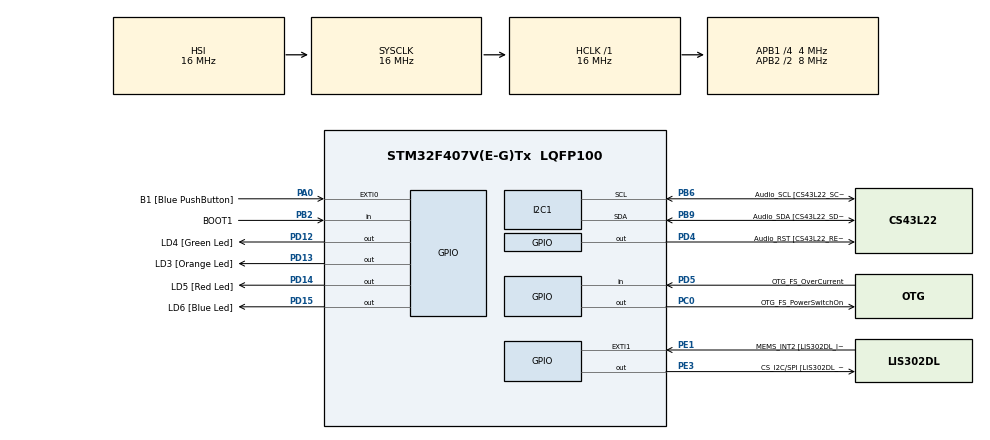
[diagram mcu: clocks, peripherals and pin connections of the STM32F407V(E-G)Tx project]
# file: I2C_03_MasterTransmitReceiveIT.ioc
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I2C1.OwnAddress=57
Mcu.Family=STM32F4
Mcu.Name=STM32F407V(E-G)Tx
Mcu.Package=LQFP100
NVIC.I2C1_ER_IRQn=true\:0\:0\:false\:false\:true\:true\:true\:true
NVIC.I2C1_EV_IRQn=true\:0\:0\:false\:false\:true\:true\:true\:true
NVIC.PriorityGroup=NVIC_PRIORITYGROUP_0
PA0-WKUP.GPIO_Label=B1 [Blue PushButton]
PA0-WKUP.Signal=GPXTI0
PA10.GPIO_Label=OTG_FS_ID
PA10.GPIO_Mode=GPIO_MODE_AF_PP
PA10.GPIO_PuPd=GPIO_NOPULL
PA10.GPIO_Speed=GPIO_SPEED_FREQ_LOW
PA10.Signal=USB_OTG_FS_ID
PA11.GPIO_Label=OTG_FS_DM
PA11.GPIO_Mode=GPIO_MODE_AF_PP
PA11.GPIO_PuPd=GPIO_NOPULL
PA11.GPIO_Speed=GPIO_SPEED_FREQ_LOW
PA11.Signal=USB_OTG_FS_DM
PA12.GPIO_Label=OTG_FS_DP
PA12.GPIO_Mode=GPIO_MODE_AF_PP
PA12.GPIO_PuPd=GPIO_NOPULL
PA12.GPIO_Speed=GPIO_SPEED_FREQ_LOW
PA12.Signal=USB_OTG_FS_DP
PA13.GPIO_Label=SWDIO
PA13.Signal=SYS_JTMS-SWDIO
PA14.GPIO_Label=SWCLK
PA14.Signal=SYS_JTCK-SWCLK
PA4.GPIO_Label=I2S3_WS [CS43L22_LRCK]
PA4.GPIO_Mode=GPIO_MODE_AF_PP
PA4.GPIO_PuPd=GPIO_NOPULL
PA4.GPIO_Speed=GPIO_SPEED_FREQ_LOW
PA4.Signal=I2S3_WS
PA5.GPIO_Label=SPI1_SCK [LIS302DL_SCL/SPC]
PA5.GPIO_Mode=GPIO_MODE_AF_PP
PA5.GPIO_PuPd=GPIO_NOPULL
PA5.GPIO_Speed=GPIO_SPEED_FREQ_LOW
PA5.Signal=SPI1_SCK
PA6.GPIO_Label=SPI1_MISO [LIS302DL_SDO]
PA6.GPIO_Mode=GPIO_MODE_AF_PP
PA6.GPIO_PuPd=GPIO_NOPULL
PA6.GPIO_Speed=GPIO_SPEED_FREQ_LOW
PA6.Signal=SPI1_MISO
PA7.GPIO_Label=SPI1_MOSI [LIS302DL_SDA/SDI/SDO]
PA7.GPIO_Mode=GPIO_MODE_AF_PP
PA7.GPIO_PuPd=GPIO_NOPULL
PA7.GPIO_Speed=GPIO_SPEED_FREQ_LOW
PA7.Signal=SPI1_MOSI
PA9.GPIO_Label=VBUS_FS
PA9.GPIO_Mode=GPIO_MODE_INPUT
PA9.GPIO_PuPd=GPIO_NOPULL
PA9.Signal=USB_OTG_FS_VBUS
PB10.GPIO_Label=CLK_IN [MP45DT02_CLK]
PB10.GPIO_Mode=GPIO_MODE_AF_PP
PB10.GPIO_PuPd=GPIO_NOPULL
PB10.GPIO_Speed=GPIO_SPEED_FREQ_LOW
PB10.Signal=I2S2_CK
PB2.GPIO_Label=BOOT1
PB2.GPIO_Mode=GPIO_MODE_INPUT
PB2.GPIO_PuPd=GPIO_NOPULL
PB2.Signal=GPIO_Input
PB3.GPIO_Label=SWO
PB3.Signal=SYS_JTDO-SWO
PB6.GPIO_Label=Audio_SCL [CS43L22_SCL]
PB6.GPIO_Mode=GPIO_MODE_AF_OD
PB6.GPIO_PuPd=GPIO_NOPULL
PB6.GPIO_Speed=GPIO_SPEED_FREQ_LOW
PB6.Mode=I2C
PB6.Signal=I2C1_SCL
PB9.GPIO_Label=Audio_SDA [CS43L22_SDA]
PB9.GPIO_Mode=GPIO_MODE_AF_OD
PB9.GPIO_PuPd=GPIO_NOPULL
PB9.GPIO_Speed=GPIO_SPEED_FREQ_LOW
PB9.Mode=I2C
PB9.Signal=I2C1_SDA
PC0.GPIO_Label=OTG_FS_PowerSwitchOn
PC0.GPIO_PuPd=GPIO_NOPULL
PC0.GPIO_Speed=GPIO_SPEED_FREQ_LOW
PC0.PinState=GPIO_PIN_SET
PC0.Signal=GPIO_Output
PC10.GPIO_Label=I2S3_SCK [CS43L22_SCLK]
PC10.GPIO_Mode=GPIO_MODE_AF_PP
PC10.GPIO_PuPd=GPIO_NOPULL
PC10.GPIO_Speed=GPIO_SPEED_FREQ_LOW
PC10.Signal=I2S3_CK
PC12.GPIO_Label=I2S3_SD [CS43L22_SDIN]
PC12.GPIO_Mode=GPIO_MODE_AF_PP
PC12.GPIO_PuPd=GPIO_NOPULL
PC12.GPIO_Speed=GPIO_SPEED_FREQ_LOW
PC12.Signal=I2S3_SD
PC14-OSC32_IN.GPIO_Label=PC14-OSC32_IN
PC14-OSC32_IN.Signal=RCC_OSC32_IN
PC15-OSC32_OUT.GPIO_Label=PC15-OSC32_OUT
PC15-OSC32_OUT.Signal=RCC_OSC32_OUT
PC3.GPIO_Label=PDM_OUT [MP45DT02_DOUT]
PC3.GPIO_Mode=GPIO_MODE_AF_PP
PC3.GPIO_PuPd=GPIO_NOPULL
PC3.GPIO_Speed=GPIO_SPEED_FREQ_LOW
PC3.Signal=I2S2_SD
PC7.GPIO_Label=I2S3_MCK [CS43L22_MCLK]
PC7.GPIO_Mode=GPIO_MODE_AF_PP
PC7.GPIO_PuPd=GPIO_NOPULL
PC7.GPIO_Speed=GPIO_SPEED_FREQ_LOW
PC7.Signal=I2S3_MCK
PD12.GPIO_Label=LD4 [Green Led]
PD12.GPIO_PuPd=GPIO_NOPULL
PD12.GPIO_Speed=GPIO_SPEED_FREQ_LOW
PD12.Signal=GPIO_Output
PD13.GPIO_Label=LD3 [Orange Led]
PD13.GPIO_PuPd=GPIO_NOPULL
PD13.GPIO_Speed=GPIO_SPEED_FREQ_LOW
PD13.Signal=GPIO_Output
PD14.GPIO_Label=LD5 [Red Led]
PD14.GPIO_PuPd=GPIO_NOPULL
PD14.GPIO_Speed=GPIO_SPEED_FREQ_LOW
PD14.Signal=GPIO_Output
PD15.GPIO_Label=LD6 [Blue Led]
PD15.GPIO_PuPd=GPIO_NOPULL
PD15.GPIO_Speed=GPIO_SPEED_FREQ_LOW
PD15.Signal=GPIO_Output
PD4.GPIO_Label=Audio_RST [CS43L22_RESET]
PD4.GPIO_PuPd=GPIO_NOPULL
PD4.GPIO_Speed=GPIO_SPEED_FREQ_LOW
PD4.Signal=GPIO_Output
PD5.GPIO_Label=OTG_FS_OverCurrent
PD5.GPIO_Mode=GPIO_MODE_INPUT
PD5.GPIO_PuPd=GPIO_NOPULL
PD5.Signal=GPIO_Input
PE1.GPIO_Label=MEMS_INT2 [LIS302DL_INT2]
PE1.GPIO_ModeDefaultEXTI=GPIO_MODE_EVT_RISING
PE1.GPIO_PuPd=GPIO_NOPULL
PE1.Signal=GPXTI1
PE3.GPIO_Label=CS_I2C/SPI [LIS302DL_CS_I2C/SPI]
PE3.GPIO_PuPd=GPIO_NOPULL
PE3.GPIO_Speed=GPIO_SPEED_FREQ_LOW
PE3.Signal=GPIO_Output
PH0-OSC_IN.GPIO_Label=PH0-OSC_IN
PH0-OSC_IN.Signal=RCC_OSC_IN
PH1-OSC_OUT.GPIO_Label=PH1-OSC_OUT
PH1-OSC_OUT.Signal=RCC_OSC_OUT
ProjectManager.HeapSize=0x200
ProjectManager.StackSize=0x400
ProjectManager.TargetToolchain=STM32CubeIDE
RCC.48MHZClocksFreq_Value=14285714.285714285
RCC.AHBFreq_Value=16000000
RCC.APB1CLKDivider=RCC_HCLK_DIV4
RCC.APB1Freq_Value=4000000
RCC.APB1TimFreq_Value=8000000
RCC.APB2CLKDivider=RCC_HCLK_DIV2
RCC.APB2Freq_Value=8000000
RCC.APB2TimFreq_Value=16000000
RCC.CortexFreq_Value=16000000
RCC.HCLKFreq_Value=16000000
RCC.HSE_VALUE=8000000
RCC.HSI_VALUE=16000000
RCC.LSE_VALUE=32768
RCC.PLLM=8
RCC.PLLN=50
RCC.PLLP=RCC_PLLP_DIV4
RCC.PLLQ=7
RCC.SYSCLKFreq_VALUE=16000000
RCC.VCOOutputFreq_Value=100000000
board=STM32F407G-DISC1

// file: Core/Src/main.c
/* USER CODE BEGIN Header */
/**
  ******************************************************************************
  * @file           : main.c
  * @brief          : Main program body
  ******************************************************************************
  * @attention
  *
  * Copyright (c) 2026 STMicroelectronics.
  * All rights reserved.
  *
  * This software is licensed under terms that can be found in the LICENSE file
  * in the root directory of this software component.
  * If no LICENSE file comes with this software, it is provided AS-IS.
  *
  ******************************************************************************
  */
/* USER CODE END Header */
#include "main.h"

/* USER CODE BEGIN Includes */
#include <stdint.h>
#include <stdio.h>
#include <string.h>
//PB9 is I2C_SDA
//PB6 is I2C_SCL
//Min pull-up is approx 1k, Max Pull up is approx 20k we will use 3.3k resistor.
/* USER CODE END Includes */

/* USER CODE BEGIN PD */
#define MASTER_MSGLEN 30
/* USER CODE END PD */

I2C_HandleTypeDef hi2c1;

/* USER CODE BEGIN PV */

uint8_t MsgBuff[70];
uint8_t OneByteRcv[1];
uint8_t TwoByteRcv[3];
uint8_t ThreeByteRcv[4];

uint8_t MsgSend[] = "I2C Slave Talking...";
uint8_t OneByteSend = 'T';//For Tayyar
uint8_t TwoByteSend[] = "OD";//For Tayyar Durmuş
uint8_t ThreeByteSend[] = "TOD";//Tayyar Onat Durmuş

/* USER CODE END PV */

void SystemClock_Config(void);
static void MX_GPIO_Init(void);
static void MX_I2C1_Init(void);

int main(void)
{

  /* MCU Configuration--------------------------------------------------------*/

  /* Reset of all peripherals, Initializes the Flash interface and the Systick. */
  HAL_Init();

  /* Configure the system clock */
  SystemClock_Config();

  /* Initialize all configured peripherals */
  MX_GPIO_Init();
  MX_I2C1_Init();

  /* Infinite loop */
  /* USER CODE BEGIN WHILE */
  while (1)
  {
	  HAL_I2C_Slave_Transmit_IT(&hi2c1,&OneByteSend,1);
	  while(hi2c1.State != HAL_I2C_STATE_READY);//Wait while i2c is busy in tx

	  HAL_I2C_Slave_Transmit_IT(&hi2c1,TwoByteSend,2);
	  while(hi2c1.State != HAL_I2C_STATE_READY);//Wait while i2c is busy in tx

	  HAL_I2C_Slave_Transmit_IT(&hi2c1,ThreeByteSend,3);
	  while(hi2c1.State != HAL_I2C_STATE_READY);//Wait while i2c is busy in tx

	  HAL_I2C_Slave_Transmit_IT(&hi2c1,MsgSend,strlen((char*)MsgSend));
	  while(hi2c1.State != HAL_I2C_STATE_READY);//Wait while i2c is busy in tx

	  while(HAL_I2C_Slave_Receive_IT(&hi2c1,OneByteRcv,1)!=HAL_OK){//Enable Slave receive. If func doesnt return OK, try again.
				  }
	  while(hi2c1.State != HAL_I2C_STATE_READY);//Wait while i2c is busy in rx
	  printf("Character Received : %c\n",OneByteRcv[0]);

	  while(HAL_I2C_Slave_Receive_IT(&hi2c1,TwoByteRcv,2)!=HAL_OK){//Enable Slave receive. If func doesnt return OK, try again.
					  }
	  while(hi2c1.State != HAL_I2C_STATE_READY);//Wait while i2c is busy in rx
	  TwoByteRcv[2] = '\0';//We will print as string so terminate with null character.
	  printf("Two Bytes Received : %s\n",TwoByteRcv);//Also use escape n so the itm works properly.

	  while(HAL_I2C_Slave_Receive_IT(&hi2c1,ThreeByteRcv,3)!=HAL_OK){//Enable Slave receive. If func doesnt return OK, try again.
						  }
	  while(hi2c1.State != HAL_I2C_STATE_READY);//Wait while i2c is busy in rx
	  ThreeByteRcv[3] = '\0';//We will print as string so terminate with null character.
	  printf("Three Bytes Received : %s\n",ThreeByteRcv);//Also use escape n so the itm works properly.

	  while(HAL_I2C_Slave_Receive_IT(&hi2c1,MsgBuff,MASTER_MSGLEN)!=HAL_OK){//Enable Slave receive. If func doesnt return OK, try again.
			  }
	  while(hi2c1.State != HAL_I2C_STATE_READY);//Wait while i2c is busy in rx
	  MsgBuff[MASTER_MSGLEN] = '\0';
	  printf("Received data : %s\n",MsgBuff);//print received data through itm.
	  break;
    /* USER CODE END WHILE */

    /* USER CODE BEGIN 3 */
  }
  for(;;);
  /* USER CODE END 3 */
}

void SystemClock_Config(void)
{
  RCC_OscInitTypeDef RCC_OscInitStruct = {0};
  RCC_ClkInitTypeDef RCC_ClkInitStruct = {0};

  /** Configure the main internal regulator output voltage
  */
  __HAL_RCC_PWR_CLK_ENABLE();
  __HAL_PWR_VOLTAGESCALING_CONFIG(PWR_REGULATOR_VOLTAGE_SCALE1);

  /** Initializes the RCC Oscillators according to the specified parameters
  * in the RCC_OscInitTypeDef structure.
  */
  RCC_OscInitStruct.OscillatorType = RCC_OSCILLATORTYPE_HSI;
  RCC_OscInitStruct.HSIState = RCC_HSI_ON;
  RCC_OscInitStruct.HSICalibrationValue = RCC_HSICALIBRATION_DEFAULT;
  RCC_OscInitStruct.PLL.PLLState = RCC_PLL_NONE;
  if (HAL_RCC_OscConfig(&RCC_OscInitStruct) != HAL_OK)
  {
    Error_Handler();
  }

  /** Initializes the CPU, AHB and APB buses clocks
  */
  RCC_ClkInitStruct.ClockType = RCC_CLOCKTYPE_HCLK|RCC_CLOCKTYPE_SYSCLK
                              |RCC_CLOCKTYPE_PCLK1|RCC_CLOCKTYPE_PCLK2;
  RCC_ClkInitStruct.SYSCLKSource = RCC_SYSCLKSOURCE_HSI;
  RCC_ClkInitStruct.AHBCLKDivider = RCC_SYSCLK_DIV1;
  RCC_ClkInitStruct.APB1CLKDivider = RCC_HCLK_DIV4;
  RCC_ClkInitStruct.APB2CLKDivider = RCC_HCLK_DIV2;

  if (HAL_RCC_ClockConfig(&RCC_ClkInitStruct, FLASH_LATENCY_0) != HAL_OK)
  {
    Error_Handler();
  }
}

static void MX_I2C1_Init(void)
{

  hi2c1.Instance = I2C1;
  hi2c1.Init.ClockSpeed = 100000;
  hi2c1.Init.DutyCycle = I2C_DUTYCYCLE_2;
  hi2c1.Init.OwnAddress1 = 114;
  hi2c1.Init.AddressingMode = I2C_ADDRESSINGMODE_7BIT;
  hi2c1.Init.DualAddressMode = I2C_DUALADDRESS_DISABLE;
  hi2c1.Init.OwnAddress2 = 0;
  hi2c1.Init.GeneralCallMode = I2C_GENERALCALL_DISABLE;
  hi2c1.Init.NoStretchMode = I2C_NOSTRETCH_DISABLE;
  if (HAL_I2C_Init(&hi2c1) != HAL_OK)
  {
    Error_Handler();
  }

}

static void MX_GPIO_Init(void)
{
  GPIO_InitTypeDef GPIO_InitStruct = {0};

  /* GPIO Ports Clock Enable */
  __HAL_RCC_GPIOE_CLK_ENABLE();
  __HAL_RCC_GPIOC_CLK_ENABLE();
  __HAL_RCC_GPIOH_CLK_ENABLE();
  __HAL_RCC_GPIOA_CLK_ENABLE();
  __HAL_RCC_GPIOB_CLK_ENABLE();
  __HAL_RCC_GPIOD_CLK_ENABLE();

  /*Configure GPIO pin Output Level */
  HAL_GPIO_WritePin(CS_I2C_SPI_GPIO_Port, CS_I2C_SPI_Pin, GPIO_PIN_RESET);

  /*Configure GPIO pin Output Level */
  HAL_GPIO_WritePin(OTG_FS_PowerSwitchOn_GPIO_Port, OTG_FS_PowerSwitchOn_Pin, GPIO_PIN_SET);

  /*Configure GPIO pin Output Level */
  HAL_GPIO_WritePin(GPIOD, LD4_Pin|LD3_Pin|LD5_Pin|LD6_Pin
                          |Audio_RST_Pin, GPIO_PIN_RESET);

  /*Configure GPIO pin : CS_I2C_SPI_Pin */
  GPIO_InitStruct.Pin = CS_I2C_SPI_Pin;
  GPIO_InitStruct.Mode = GPIO_MODE_OUTPUT_PP;
  GPIO_InitStruct.Pull = GPIO_NOPULL;
  GPIO_InitStruct.Speed = GPIO_SPEED_FREQ_LOW;
  HAL_GPIO_Init(CS_I2C_SPI_GPIO_Port, &GPIO_InitStruct);

  /*Configure GPIO pin : OTG_FS_PowerSwitchOn_Pin */
  GPIO_InitStruct.Pin = OTG_FS_PowerSwitchOn_Pin;
  GPIO_InitStruct.Mode = GPIO_MODE_OUTPUT_PP;
  GPIO_InitStruct.Pull = GPIO_NOPULL;
  GPIO_InitStruct.Speed = GPIO_SPEED_FREQ_LOW;
  HAL_GPIO_Init(OTG_FS_PowerSwitchOn_GPIO_Port, &GPIO_InitStruct);

  /*Configure GPIO pin : PDM_OUT_Pin */
  GPIO_InitStruct.Pin = PDM_OUT_Pin;
  GPIO_InitStruct.Mode = GPIO_MODE_AF_PP;
  GPIO_InitStruct.Pull = GPIO_NOPULL;
  GPIO_InitStruct.Speed = GPIO_SPEED_FREQ_LOW;
  GPIO_InitStruct.Alternate = GPIO_AF5_SPI2;
  HAL_GPIO_Init(PDM_OUT_GPIO_Port, &GPIO_InitStruct);

  /*Configure GPIO pin : B1_Pin */
  GPIO_InitStruct.Pin = B1_Pin;
  GPIO_InitStruct.Mode = GPIO_MODE_IT_RISING;
  GPIO_InitStruct.Pull = GPIO_NOPULL;
  HAL_GPIO_Init(B1_GPIO_Port, &GPIO_InitStruct);

  /*Configure GPIO pin : I2S3_WS_Pin */
  GPIO_InitStruct.Pin = I2S3_WS_Pin;
  GPIO_InitStruct.Mode = GPIO_MODE_AF_PP;
  GPIO_InitStruct.Pull = GPIO_NOPULL;
  GPIO_InitStruct.Speed = GPIO_SPEED_FREQ_LOW;
  GPIO_InitStruct.Alternate = GPIO_AF6_SPI3;
  HAL_GPIO_Init(I2S3_WS_GPIO_Port, &GPIO_InitStruct);

  /*Configure GPIO pins : SPI1_SCK_Pin SPI1_MISO_Pin SPI1_MOSI_Pin */
  GPIO_InitStruct.Pin = SPI1_SCK_Pin|SPI1_MISO_Pin|SPI1_MOSI_Pin;
  GPIO_InitStruct.Mode = GPIO_MODE_AF_PP;
  GPIO_InitStruct.Pull = GPIO_NOPULL;
  GPIO_InitStruct.Speed = GPIO_SPEED_FREQ_LOW;
  GPIO_InitStruct.Alternate = GPIO_AF5_SPI1;
  HAL_GPIO_Init(GPIOA, &GPIO_InitStruct);

  /*Configure GPIO pin : BOOT1_Pin */
  GPIO_InitStruct.Pin = BOOT1_Pin;
  GPIO_InitStruct.Mode = GPIO_MODE_INPUT;
  GPIO_InitStruct.Pull = GPIO_NOPULL;
  HAL_GPIO_Init(BOOT1_GPIO_Port, &GPIO_InitStruct);

  /*Configure GPIO pin : CLK_IN_Pin */
  GPIO_InitStruct.Pin = CLK_IN_Pin;
  GPIO_InitStruct.Mode = GPIO_MODE_AF_PP;
  GPIO_InitStruct.Pull = GPIO_NOPULL;
  GPIO_InitStruct.Speed = GPIO_SPEED_FREQ_LOW;
  GPIO_InitStruct.Alternate = GPIO_AF5_SPI2;
  HAL_GPIO_Init(CLK_IN_GPIO_Port, &GPIO_InitStruct);

  /*Configure GPIO pins : LD4_Pin LD3_Pin LD5_Pin LD6_Pin
                           Audio_RST_Pin */
  GPIO_InitStruct.Pin = LD4_Pin|LD3_Pin|LD5_Pin|LD6_Pin
                          |Audio_RST_Pin;
  GPIO_InitStruct.Mode = GPIO_MODE_OUTPUT_PP;
  GPIO_InitStruct.Pull = GPIO_NOPULL;
  GPIO_InitStruct.Speed = GPIO_SPEED_FREQ_LOW;
  HAL_GPIO_Init(GPIOD, &GPIO_InitStruct);

  /*Configure GPIO pins : I2S3_MCK_Pin I2S3_SCK_Pin I2S3_SD_Pin */
  GPIO_InitStruct.Pin = I2S3_MCK_Pin|I2S3_SCK_Pin|I2S3_SD_Pin;
  GPIO_InitStruct.Mode = GPIO_MODE_AF_PP;
  GPIO_InitStruct.Pull = GPIO_NOPULL;
  GPIO_InitStruct.Speed = GPIO_SPEED_FREQ_LOW;
  GPIO_InitStruct.Alternate = GPIO_AF6_SPI3;
  HAL_GPIO_Init(GPIOC, &GPIO_InitStruct);

  /*Configure GPIO pin : VBUS_FS_Pin */
  GPIO_InitStruct.Pin = VBUS_FS_Pin;
  GPIO_InitStruct.Mode = GPIO_MODE_INPUT;
  GPIO_InitStruct.Pull = GPIO_NOPULL;
  HAL_GPIO_Init(VBUS_FS_GPIO_Port, &GPIO_InitStruct);

  /*Configure GPIO pins : OTG_FS_ID_Pin OTG_FS_DM_Pin OTG_FS_DP_Pin */
  GPIO_InitStruct.Pin = OTG_FS_ID_Pin|OTG_FS_DM_Pin|OTG_FS_DP_Pin;
  GPIO_InitStruct.Mode = GPIO_MODE_AF_PP;
  GPIO_InitStruct.Pull = GPIO_NOPULL;
  GPIO_InitStruct.Speed = GPIO_SPEED_FREQ_LOW;
  GPIO_InitStruct.Alternate = GPIO_AF10_OTG_FS;
  HAL_GPIO_Init(GPIOA, &GPIO_InitStruct);

  /*Configure GPIO pin : OTG_FS_OverCurrent_Pin */
  GPIO_InitStruct.Pin = OTG_FS_OverCurrent_Pin;
  GPIO_InitStruct.Mode = GPIO_MODE_INPUT;
  GPIO_InitStruct.Pull = GPIO_NOPULL;
  HAL_GPIO_Init(OTG_FS_OverCurrent_GPIO_Port, &GPIO_InitStruct);

  /*Configure GPIO pin : MEMS_INT2_Pin */
  GPIO_InitStruct.Pin = MEMS_INT2_Pin;
  GPIO_InitStruct.Mode = GPIO_MODE_EVT_RISING;
  GPIO_InitStruct.Pull = GPIO_NOPULL;
  HAL_GPIO_Init(MEMS_INT2_GPIO_Port, &GPIO_InitStruct);

}

void Error_Handler(void)
{
  __disable_irq();
  while (1)
  {
  }
}
